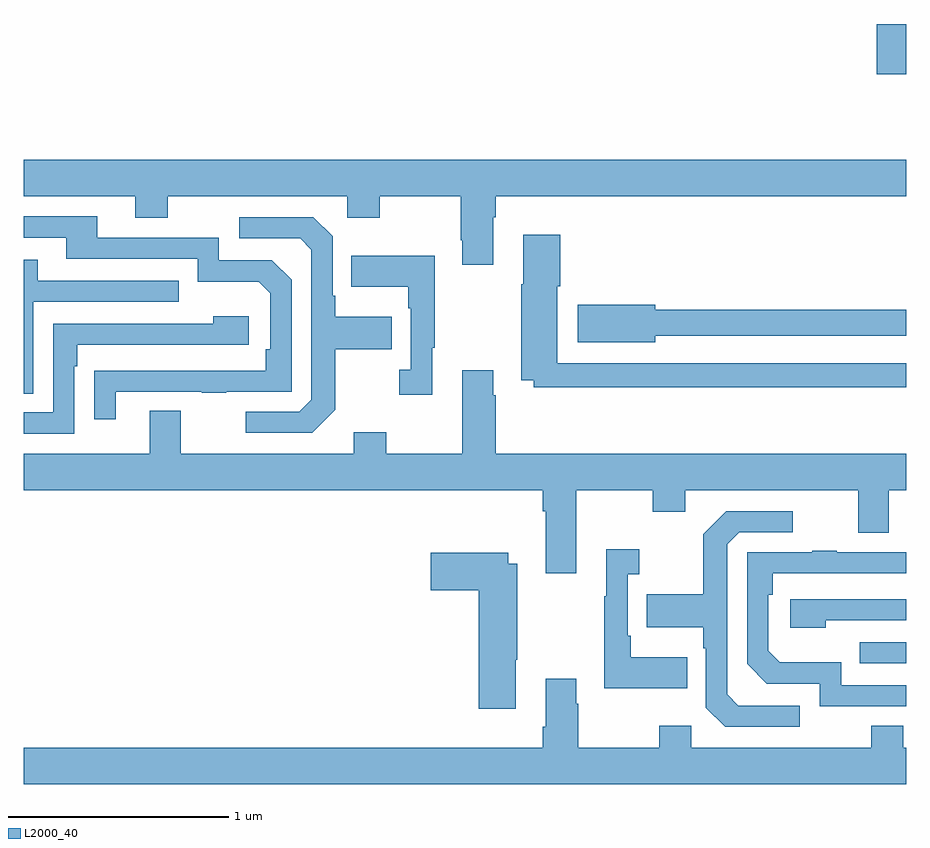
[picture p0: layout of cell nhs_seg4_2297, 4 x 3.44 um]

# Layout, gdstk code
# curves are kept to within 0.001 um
import gdstk
lib = gdstk.Library(unit=1e-6, precision=1e-09)
def R(c, l, rs):  # rectangles x0, y0, x1, y1
    for r in rs: c.add(gdstk.rectangle(r[:2], r[2:], *l))
def P(c, l, *ps):  # polygons
    for p in ps: c.add(gdstk.Polygon(p, *l))
L2000_40 = (2000, 40)

nhs_seg4_2297 = lib.new_cell('nhs_seg4_2297')
R(nhs_seg4_2297, L2000_40, [(232.789,828.003,233,828.099), (232.865,830.673,233,830.9)])
P(nhs_seg4_2297, L2000_40, [(231.127,830.024),(231.14,830.024),(231.14,830.12),(233,830.12),(233,830.284),(229,830.284),(229,830.12),(229.505,830.12),(229.505,830.021),(229.653,830.021),(229.653,830.12),(230.466,830.12),(230.466,830.021),(230.613,830.021),(230.613,830.12),(230.98,830.12),(230.98,829.921),(230.987,829.921),(230.987,829.809),(231.127,829.809)],
  [(229.417,829.233),(229.807,829.233),(229.807,829.228),(229.919,829.228),(229.919,829.233),(230.214,829.233),(230.214,829.74),(230.124,829.83),(229.884,829.83),(229.884,829.932),(229.333,829.932),(229.333,830.028),(229,830.028),(229,829.932),(229.193,829.932),(229.193,829.836),(229.788,829.836),(229.788,829.733),(230.065,829.733),(230.118,829.68),(230.118,829.426),(230.098,829.426),(230.098,829.329),(229.321,829.328),(229.321,829.11),(229.417,829.11)],
  [(230.413,829.153),(230.413,829.426),(230.669,829.426),(230.669,829.573),(230.413,829.573),(230.413,829.669),(230.4,829.669),(230.4,829.938),(230.313,830.025),(229.977,830.025),(229.977,829.929),(230.253,829.929),(230.304,829.878),(230.304,829.197),(230.25,829.143),(230.007,829.143),(230.007,829.047),(230.307,829.047)],
  [(233,829.362),(231.418,829.362),(231.418,829.711),(231.431,829.711),(231.431,829.945),(231.263,829.945),(231.263,829.721),(231.256,829.721),(231.256,829.286),(231.312,829.286),(231.312,829.254),(233,829.254)],
  [(230.851,829.433),(230.863,829.433),(230.863,829.849),(230.485,829.849),(230.485,829.709),(230.742,829.709),(230.742,829.613),(230.754,829.613),(230.754,829.334),(230.703,829.334),(230.703,829.221),(230.851,829.221)],
  [(229.044,829.641),(229.703,829.641),(229.703,829.737),(229.063,829.737),(229.063,829.831),(229,829.831),(229,829.225),(229.044,829.225)],
  [(231.862,829.488),(233,829.488),(233,829.604),(231.862,829.604),(231.862,829.628),(231.51,829.628),(231.51,829.457),(231.862,829.457)],
  [(229.23,829.349),(229.243,829.349),(229.243,829.446),(230.02,829.446),(230.02,829.576),(229.859,829.576),(229.859,829.542),(229.134,829.542),(229.134,829.14),(229,829.14),(229,829.044),(229.23,829.044)],
  [(231.505,828.788),(231.85,828.788),(231.85,828.689),(231.997,828.689),(231.997,828.788),(232.781,828.788),(232.781,828.594),(232.921,828.594),(232.921,828.788),(233,828.788),(233,828.952),(231.14,828.952),(231.14,829.217),(231.127,829.217),(231.127,829.33),(230.987,829.33),(230.987,828.952),(230.643,828.952),(230.643,829.051),(230.495,829.051),(230.495,828.952),(229.711,828.952),(229.711,829.147),(229.571,829.147),(229.571,828.952),(229,828.952),(229,828.788),(231.353,828.788),(231.353,828.692),(231.365,828.692),(231.365,828.411),(231.505,828.411)],
  [(232.516,827.811),(232.239,827.811),(232.188,827.862),(232.188,828.543),(232.242,828.597),(232.486,828.597),(232.486,828.693),(232.185,828.693),(232.08,828.587),(232.08,828.315),(231.823,828.315),(231.823,828.167),(232.08,828.167),(232.08,828.071),(232.092,828.071),(232.092,827.802),(232.179,827.715),(232.516,827.715)],
  [(232.007,828.031),(231.751,828.031),(231.751,828.127),(231.738,828.127),(231.738,828.407),(231.79,828.407),(231.79,828.52),(231.641,828.52),(231.641,828.307),(231.63,828.307),(231.63,827.891),(232.007,827.891)],
  [(233,827.904),(232.704,827.904),(232.704,828.007),(232.427,828.007),(232.374,828.06),(232.374,828.314),(232.394,828.314),(232.394,828.411),(233,828.411),(233,828.507),(232.685,828.507),(232.685,828.512),(232.573,828.512),(232.573,828.507),(232.278,828.507),(232.278,828),(232.368,827.91),(232.608,827.91),(232.608,827.808),(233,827.808)],
  [(231.229,828.019),(231.237,828.019),(231.237,828.454),(231.196,828.454),(231.196,828.505),(230.844,828.505),(230.844,828.335),(231.062,828.335),(231.062,827.796),(231.229,827.796)],
  [(232.634,828.198),(233,828.198),(233,828.294),(232.473,828.294),(232.473,828.164),(232.634,828.164)],
  [(233,827.62),(232.987,827.62),(232.987,827.719),(232.84,827.719),(232.84,827.62),(232.026,827.62),(232.026,827.719),(231.88,827.719),(231.88,827.62),(231.513,827.62),(231.513,827.819),(231.505,827.819),(231.505,827.932),(231.365,827.932),(231.365,827.716),(231.353,827.716),(231.353,827.62),(229,827.62),(229,827.456),(233,827.456)])

lib.write_gds('nhs_seg4_2297.gds')
